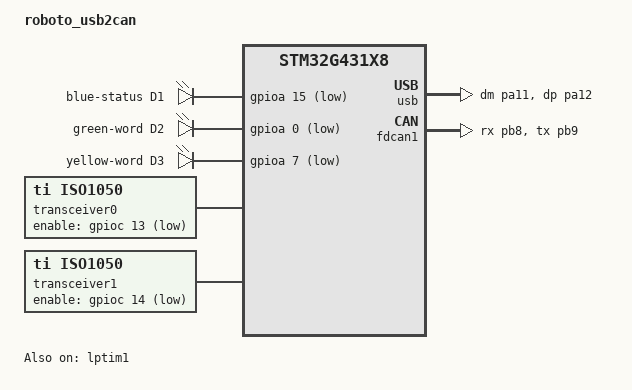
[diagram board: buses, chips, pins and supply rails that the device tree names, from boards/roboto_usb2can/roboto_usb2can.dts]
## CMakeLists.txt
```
# Copyright (c) 2025 roboparty <2321901849@qq.com>
# SPDX-License-Identifier: GPL-3.0-only

cmake_minimum_required(VERSION 3.20.0)

set(CMAKE_EXPORT_COMPILE_COMMANDS ON)
set(BOARD_ROOT ${CMAKE_CURRENT_LIST_DIR})
set(NO_BUILD_TYPE_WARNING TRUE)

find_package(Zephyr REQUIRED HINTS $ENV{ZEPHYR_BASE})
project(roboto_usb2can)

# Version definition
set(APP_VERSION_MAJOR 3)
set(APP_VERSION_MINOR 0)
set(APP_VERSION_PATCH 0)

# Get build date
string(TIMESTAMP BUILD_DATE "%Y%m%d" UTC)

configure_file(src/version.h.in ${CMAKE_CURRENT_BINARY_DIR}/src/version.h)
target_include_directories(app PRIVATE ${CMAKE_CURRENT_BINARY_DIR}/src)

target_sources(app PRIVATE src/main.c src/led.c)

# Print version info for reference
message(STATUS "Building roboto_usb2can v${APP_VERSION_MAJOR}.${APP_VERSION_MINOR}.${APP_VERSION_PATCH} (${BUILD_DATE})")

# Define version as compile definitions
target_compile_definitions(app PRIVATE
  APP_VERSION_MAJOR=${APP_VERSION_MAJOR}
  APP_VERSION_MINOR=${APP_VERSION_MINOR}
  APP_VERSION_PATCH=${APP_VERSION_PATCH}
  BUILD_DATE=\"${BUILD_DATE}\"
)

# Create versioned release files when building in Release mode
if(CMAKE_BUILD_TYPE STREQUAL "Release" OR NOT CMAKE_BUILD_TYPE)
  set(VERSION_NAME "roboto_usb2can_v${APP_VERSION_MAJOR}.${APP_VERSION_MINOR}.${APP_VERSION_PATCH}_${BUILD_DATE}")

  add_custom_target(release_files
    COMMAND ${CMAKE_COMMAND} -E copy_if_different
    ${CMAKE_CURRENT_BINARY_DIR}/zephyr/zephyr.bin
    ${CMAKE_CURRENT_BINARY_DIR}/zephyr/${VERSION_NAME}.bin
    COMMENT "Creating release binary: ${VERSION_NAME}.bin"
    VERBATIM
  )

  message(STATUS "Release mode: Will create versioned binary ${VERSION_NAME}.bin")
  message(STATUS "Run 'cmake --build . --target release_files' after build to generate release binary")
endif()
```

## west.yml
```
manifest:
  version: 0.13

  projects:
    - name: zephyr
      remote: zephyrproject
      revision: main
      import: true

    - name: cannectivity
      remote: cannectivity
      revision: main
      path: custom/cannectivity

  remotes:
    - name: zephyrproject
      url-base: https://github.com/zephyrproject-rtos

    - name: cannectivity
      url-base: https://github.com/CANnectivity

  self:
    path: samples/roboto_usb2can
```

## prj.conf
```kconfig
# Copyright (c) 2025 roboparty <2321901849@qq.com>
# SPDX-License-Identifier: GPL-3.0-only

# CAN Configuration
CONFIG_CAN=y
CONFIG_STATS=y
CONFIG_CAN_STATS=y
CONFIG_CAN_FD_MODE=y
CONFIG_CAN_LOG_LEVEL_DBG=n
CONFIG_DEPRECATION_TEST=y

# UDC Buffer
CONFIG_UDC_BUF_COUNT=48
CONFIG_UDC_BUF_POOL_SIZE=4096
CONFIG_HEAP_MEM_POOL_SIZE=2048
CONFIG_MAIN_STACK_SIZE=2048
CONFIG_SYSTEM_WORKQUEUE_STACK_SIZE=2048
CONFIG_ISR_STACK_SIZE=1536

# GS-USB Support - Legacy Driver
# CONFIG_USB_DEVICE_STACK=y
# CONFIG_USB_DEVICE_PRODUCT="roboto_usb2can"
# CONFIG_USB_DEVICE_MANUFACTURER="wentywenty"
# CONFIG_USB_DEVICE_VID=0x1D50
# CONFIG_USB_DEVICE_PID=0x606F
# CONFIG_USB_DEVICE_BOS=y
# CONFIG_USB_DEVICE_GS_USB=y
# CONFIG_USB_DEVICE_GS_USB_MAX_CHANNELS=2
# CONFIG_USB_DEVICE_GS_USB_LOG_LEVEL_DBG=y
# CONFIG_USB_DEVICE_GS_USB_IDENTIFICATION=y
# CONFIG_USB_DEVICE_GS_USB_TIMESTAMP=y
# CONFIG_USB_DEVICE_GS_USB_TERMINATION=n

# USB Configuration - New Stack
CONFIG_USB_DEVICE_STACK_NEXT=y
CONFIG_USB_DEVICE_INITIALIZE_AT_BOOT=n
# GS-USB Support - New Driver
CONFIG_USBD_GS_USB=y
CONFIG_USBD_GS_USB_MAX_CHANNELS=1
CONFIG_USBD_GS_USB_LOG_LEVEL_DBG=n
CONFIG_USBD_GS_USB_IDENTIFICATION=n
CONFIG_USBD_GS_USB_TIMESTAMP=n
CONFIG_USBD_GS_USB_TERMINATION=n
CONFIG_USBD_GS_USB_COMPATIBILITY_MODE=y
# Thread Priority Optimization
CONFIG_USBD_GS_USB_POOL_SIZE=64
CONFIG_USBD_GS_USB_RX_THREAD_PRIO=-1
CONFIG_USBD_GS_USB_TX_THREAD_PRIO=-1
CONFIG_USBD_GS_USB_RX_THREAD_STACK_SIZE=2048
CONFIG_USBD_GS_USB_TX_THREAD_STACK_SIZE=2048

# Logging
CONFIG_SERIAL=n
CONFIG_CONSOLE=n
CONFIG_LOG=n
CONFIG_USBD_LOG_LEVEL_WRN=n
CONFIG_USBD_GS_USB_LOG_LEVEL_INF=n
CONFIG_USBD_GS_USB_LOG_LEVEL_DBG=n
CONFIG_CAN_LOG_LEVEL_WRN=n
# CONFIG_USB_DRIVER_LOG_LEVEL_OFF=y
# CONFIG_LOG_MODE_DEFERRED=y
# CONFIG_LOG_DEFAULT_LEVEL=3
# CONFIG_LOG_BUFFER_SIZE=8192
# CONFIG_USE_SEGGER_RTT=n
# CONFIG_RTT_CONSOLE=n
# CONFIG_LOG_BACKEND_RTT=n
# CONFIG_LOG_BACKEND_UART=y
# CONFIG_UART_CONSOLE=y

# Disable Unnecessary Features
CONFIG_ASSERT=n
CONFIG_THREAD_NAME=n
CONFIG_THREAD_MONITOR=n
CONFIG_INIT_STACKS=n
CONFIG_DEBUG=n
CONFIG_SIZE_OPTIMIZATIONS=y
# CONFIG_THREAD_STACK_INFO=n
```

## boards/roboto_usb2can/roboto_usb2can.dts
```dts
/dts-v1/;
/*
 * Copyright (c) 2025 roboparty <2321901849@qq.com>
 *
 *  SPDX-License-Identifier: GPL-3.0-only
 */

#include <st/g4/stm32g431X8.dtsi>
#include <st/g4/stm32g431c(6-8-b)tx-pinctrl.dtsi>

/ {
    model = "roboto_usb2can";
    compatible = "candlelightfd";

    chosen {
        zephyr,sram = &sram0;
        zephyr,flash = &flash0;
        zephyr,canbus = &fdcan1;
    };

	aliases {
		led0 = &blue_led;
		led1 = &green_led;
		led2 = &yellow_led;
	};

	leds: leds {
		compatible = "gpio-leds";

		blue_led: led_1 {
			gpios = <&gpioa 15 GPIO_ACTIVE_LOW>;
			label = "blue-status D1";
		};

		green_led: led_2 {
			gpios = <&gpioa 0 GPIO_ACTIVE_LOW>;
			label = "green-word D2";
		};

		yellow_led: led_3 {
			gpios = <&gpioa 7 GPIO_ACTIVE_LOW>;
			label = "yellow-word D3";
		};
	};

    transceiver0: can-phy0 {
        compatible = "ti,iso1050", "can-transceiver-gpio";
        enable-gpios = <&gpioc 13 GPIO_ACTIVE_LOW>;
        max-bitrate = <5000000>;
        #phy-cells = <0>;
    };

    transceiver1: can-phy1 {
        compatible = "ti,iso1050", "can-transceiver-gpio";
        enable-gpios = <&gpioc 14 GPIO_ACTIVE_LOW>;
        max-bitrate = <5000000>;
        #phy-cells = <0>;
    };

    cannectivity: cannectivity {
        compatible = "cannectivity";
		timestamp-counter = <&counters2>;

        channel0 {
            compatible = "cannectivity-channel";
            can-controller = <&fdcan1>;
			state-led = <&blue_led>;
			activity-leds = <&green_led>;
        };
    };

    gs_usb0: gs_usb0 {
		compatible = "gs_usb";
		label = "gs_usb";
	};
};

&clk_hsi {
    status = "okay";
};

&clk_hsi48 {
    status = "okay";
};

/* Adjust the pll for a SYSTEM Clock of 160 MHz  */
&pll {
	div-m = <4>;
	mul-n = <80>;
	div-p = <2>;
	div-q = <4>;
	div-r = <2>;
	clocks = <&clk_hsi>;
	status = "okay";
};

&rcc {
	clocks = <&pll>;
	clock-frequency = <DT_FREQ_M(160)>;
	ahb-prescaler = <1>;
	apb1-prescaler = <1>;
	apb2-prescaler = <1>;
};

zephyr_udc0: &usb {
	pinctrl-0 = <&usb_dm_pa11 &usb_dp_pa12>;
	pinctrl-names = "default";
	clocks = <&rcc STM32_CLOCK(APB1, 23)>,
		 <&rcc STM32_SRC_HSI48 CLK48_SEL(0)>;
	status = "okay";
};

&fdcan1 {
	pinctrl-0 = <&fdcan1_rx_pb8 &fdcan1_tx_pb9>;
	pinctrl-names = "default";
	clocks = <&rcc STM32_CLOCK(APB1, 25)>,
		 <&rcc STM32_SRC_PLL_Q FDCAN_SEL(1)>;
	status = "okay";
};

/* 1MHz Timestamp Counter (64MHz / 64 = 1MHz) */
stm32_lp_tick_source: &lptim1 {
	clocks = <&rcc STM32_CLOCK(APB1, 31)>,
		 <&rcc STM32_SRC_LSI LPTIM1_SEL(3)>;
	status = "okay";
};

&timers2 {
	st,prescaler = <159>;
	counters2: counter {
		status = "okay";
	};
};
```

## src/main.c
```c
/*
 * Copyright (c) 2025 roboparty <2321901849@qq.com>
 * SPDX-License-Identifier: GPL-3.0-only
 */

#include "roboto_usb2can.h"

LOG_MODULE_REGISTER(main, LOG_LEVEL_INF);

#ifdef CONFIG_USB_DEVICE_STACK_NEXT
/* New USB stack: Define USB device context */
USBD_DEVICE_DEFINE(usbd, DEVICE_DT_GET(DT_NODELABEL(zephyr_udc0)), 0x1D50, 0x606F);

USBD_DESC_LANG_DEFINE(lang);
USBD_DESC_MANUFACTURER_DEFINE(mfr, "wentywenty");
USBD_DESC_PRODUCT_DEFINE(product, "roboto_usb2can");
USBD_DESC_SERIAL_NUMBER_DEFINE(sn);
USBD_DESC_CONFIG_DEFINE(fs_config_desc, "Full-Speed Configuration");
USBD_CONFIGURATION_DEFINE(fs_config, 0, 250, &fs_config_desc);
#endif
/**
 * @brief Microsoft OS 2.0 descriptor vendor request handler
 *
 * Handles Windows-specific vendor requests for MSOS 2.0 descriptors,
 * enabling automatic WinUSB driver binding without manual driver installation.
 *
 * @param ctx USB device context
 * @param setup USB setup packet containing the request
 * @param buf Network buffer for response data
 * @return 0 on success, -ENOTSUP for unsupported requests
 */
static int msos_vendor_handler(const struct usbd_context *const ctx,
			       const struct usb_setup_packet *const setup,
			       struct net_buf *const buf)
{
	if (setup->bRequest == 0x01 && setup->wIndex == MS_OS_20_DESCRIPTOR_INDEX) {
		size_t len = sizeof(msos2_desc);
		net_buf_add_mem(buf, &msos2_desc, MIN(net_buf_tailroom(buf), len));
		LOG_INF("Windows requested MSOS2 descriptor");
		return 0;
	}
	return -ENOTSUP;
}

/* Register BOS Descriptors */
USBD_DESC_BOS_DEFINE(bos_lpm, sizeof(bos_cap_lpm), &bos_cap_lpm);
USBD_DESC_BOS_VREQ_DEFINE(bos_msosv2, sizeof(bos_cap_msosv2), &bos_cap_msosv2, 0x01,
			  msos_vendor_handler, NULL);

/**
 * @brief CAN state change callback - Error monitoring and protection
 *
 * This callback monitors CAN bus state changes and implements error protection
 * mechanisms including error frame flood detection and automatic bus-off recovery.
 *
 * @param dev Pointer to the CAN device
 * @param state Current CAN bus state
 * @param err_cnt CAN error counters (TX/RX)
 * @param user_data User data pointer (channel index)
 */
static void can_state_change_callback(const struct device *dev, enum can_state state,
				      struct can_bus_err_cnt err_cnt, void *user_data)
{
	int ch = 0; /* Currently only supports single channel, multi-channel needs matching via
		       user_data or dev */
	struct can_error_monitor *mon = &err_monitors[ch];
	int64_t now = k_uptime_get();

	/* Reset statistics window */
	if ((now - mon->window_start_ms) > CAN_ERR_WINDOW_MS) {
		mon->err_frame_count = 0;
		mon->window_start_ms = now;
		mon->throttled = false;
	}

	/* Error frame count */
	if (state != CAN_STATE_ERROR_ACTIVE) {
		mon->err_frame_count++;
	}

	/* Error frame flood detection */
	if (mon->err_frame_count > CAN_ERR_FRAME_THRESHOLD) {
		if (!mon->throttled) {
			LOG_ERR("CH%d: Error frame flood detected (%u/s), throttling", ch,
				mon->err_frame_count);
			mon->throttled = true;
			/* USB error and CAN error */
			status_led_usb_set(LED_USB_ERROR);
			status_led_can_set(CAN_LED_ERROR);
		}
		/* Actively enter Bus-Off to protect bus */
		if (!mon->forced_busoff) {
			LOG_ERR("CH%d: Forcing Bus-Off to prevent bus freeze", ch);
			can_stop(dev);
			mon->forced_busoff = true;
			return;
		}
	}

	/* Handle different error states */
	switch (state) {
	case CAN_STATE_ERROR_ACTIVE:
		LOG_DBG("CH%d: CAN ERROR_ACTIVE (TEC=%u, REC=%u)", ch, err_cnt.tx_err_cnt,
			err_cnt.rx_err_cnt);
		mon->err_passive_count = 0; /* Reset count after recovery */
		mon->forced_busoff = false;
		/* CAN back to normal */
		status_led_can_set(CAN_LED_ACTIVE);
		break;

	case CAN_STATE_ERROR_WARNING:
		LOG_WRN("CH%d: CAN ERROR_WARNING (TEC=%u, REC=%u)", ch, err_cnt.tx_err_cnt,
			err_cnt.rx_err_cnt);
		/* CAN warning state */
		status_led_can_set(CAN_LED_WARNING);
		break;

	case CAN_STATE_ERROR_PASSIVE:
		mon->err_passive_count++;
		LOG_WRN("CH%d: CAN ERROR_PASSIVE #%u (TEC=%u, REC=%u)", ch, mon->err_passive_count,
			err_cnt.tx_err_cnt, err_cnt.rx_err_cnt);
		/* CAN error state */
		status_led_can_set(CAN_LED_ERROR);

		/* Persistent ERROR_PASSIVE -> active Bus-Off */
		if (mon->err_passive_count > CAN_ERR_PASSIVE_LIMIT) {
			LOG_ERR("CH%d: Persistent ERROR_PASSIVE (%u times), forcing Bus-Off", ch,
				mon->err_passive_count);
			can_stop(dev);
			mon->forced_busoff = true;
			/* USB error and CAN off */
			status_led_usb_set(LED_USB_ERROR);
			status_led_can_set(CAN_LED_OFF);
		}
		break;

	case CAN_STATE_BUS_OFF:
		LOG_ERR("CH%d: CAN BUS_OFF (TEC=%u, REC=%u)", ch, err_cnt.tx_err_cnt,
			err_cnt.rx_err_cnt);
		mon->forced_busoff = true;
		/* USB error and CAN off */
		status_led_usb_set(LED_USB_ERROR);
		status_led_can_set(CAN_LED_OFF);
		break;

	case CAN_STATE_STOPPED:
		LOG_INF("CH%d: CAN STOPPED", ch);
		/* CAN stopped */
		status_led_can_set(CAN_LED_OFF);
		break;
	}
}

/**
 * @brief Main application entry point
 *
 * Initializes the roboto_usb2can adapter including:
 * - Status LED system
 * - CAN error monitoring
 * - GS-USB protocol stack
 * - USB device configuration (WinUSB support)
 *
 * @return 0 on success, negative error code on failure
 */
int main(void)
{
	const struct device *gs_usb = DEVICE_DT_GET(DT_NODELABEL(gs_usb0));
	const struct device *channels[] = {DEVICE_DT_GET(DT_NODELABEL(fdcan1))};
	struct gs_usb_ops ops = {
		.event = status_led_event,
	};
	int err;

	/* Initialize status LED */
	err = status_led_init();
	if (err) {
		LOG_ERR("Failed to initialize status LED (err %d)", err);
	}

	printk("*** roboto_usb2can adapter v%s ***\n", APP_VERSION_STR);

	/* Initialize CAN error monitoring */
	for (int i = 0; i < ARRAY_SIZE(can_devices); i++) {
		if (!device_is_ready(can_devices[i])) {
			LOG_ERR("CAN device %d not ready", i);
			continue;
		}

		/* Register CAN state change callback */
		can_set_state_change_callback(can_devices[i], can_state_change_callback,
					      (void *)(intptr_t)i);
		LOG_INF("CAN error monitoring enabled for channel %d", i);

		/* Initialize error monitor */
		err_monitors[i].window_start_ms = k_uptime_get();
	}

	if (!device_is_ready(gs_usb)) {
		LOG_ERR("gs_usb not ready");
		return -1;
	}

	/* Register gs_usb device and channels, and set event callback */
	err = gs_usb_register(gs_usb, channels, ARRAY_SIZE(channels), &ops, NULL);
	if (err != 0) {
		LOG_ERR("failed to register gs_usb (err %d)", err);
		return err;
	}

#ifdef CONFIG_USB_DEVICE_STACK_NEXT
	/* New USB stack initialization */
	err = usbd_add_descriptor(&usbd, &lang);
	if (err != 0) {
		LOG_ERR("failed to add language descriptor (err %d)", err);
		return err;
	}

	err = usbd_add_descriptor(&usbd, &mfr);
	if (err != 0) {
		LOG_ERR("failed to add manufacturer descriptor (err %d)", err);
		return err;
	}

	err = usbd_add_descriptor(&usbd, &product);
	if (err != 0) {
		LOG_ERR("failed to add product descriptor (err %d)", err);
		return err;
	}

	err = usbd_add_descriptor(&usbd, &sn);
	if (err != 0) {
		LOG_ERR("failed to add serial number descriptor (err %d)", err);
		return err;
	}

	err = usbd_add_configuration(&usbd, USBD_SPEED_FS, &fs_config);
	if (err != 0) {
		LOG_ERR("failed to add full-speed configuration (err %d)", err);
		return err;
	}

	err = usbd_register_class(&usbd, "gs_usb_0", USBD_SPEED_FS, 1);
	if (err != 0) {
		LOG_ERR("failed to register gs_usb class (err %d)", err);
		return err;
	}

	err = usbd_device_set_code_triple(&usbd, USBD_SPEED_FS, 0, 0, 0);
	if (err != 0) {
		LOG_ERR("failed to set code triple (err %d)", err);
		return err;
	}

	/* Set USB version to 2.0.1 to trigger BOS descriptor read (required for WinUSB) */
	err = usbd_device_set_bcd_usb(&usbd, USBD_SPEED_FS, USB_SRN_2_0_1);
	if (err != 0) {
		LOG_ERR("failed to set FS bcdUSB (err %d)", err);
		return err;
	}

	/* Set device version */
	err = usbd_device_set_bcd_device(&usbd, APP_VERSION_BCD);
	if (err != 0) {
		LOG_ERR("failed to set bcdDevice (err %d)", err);
		return err;
	}

	err = usbd_add_descriptor(&usbd, &bos_lpm);
	if (err != 0) {
		LOG_ERR("failed to add BOS LPM descriptor (err %d)", err);
		return err;
	}

	err = usbd_add_descriptor(&usbd, &bos_msosv2);
	if (err != 0) {
		LOG_ERR("failed to add BOS MSOS2 descriptor (err %d)", err);
		return err;
	}

	err = usbd_init(&usbd);
	if (err != 0) {
		LOG_ERR("failed to initialize USB device (err %d)", err);
		return err;
	}

	err = usbd_enable(&usbd);
	if (err != 0) {
		LOG_ERR("failed to enable USB device (err %d)", err);
		return err;
	}
#else
	/* Old USB stack */
	err = usb_enable(NULL);
	if (err != 0) {
		LOG_ERR("failed to enable USB (err %d)", err);
		return err;
	}
#endif

	LOG_INF("roboto_usb2can initialized with %u channels", ARRAY_SIZE(channels));

	/* Set LED to USB ready state */
	status_led_usb_set(LED_USB_READY);
	LOG_INF("WinUSB support enabled - plug and play on Windows 8.1+");

	return 0;
}
```

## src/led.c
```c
/*
 * Copyright (c) 2025 roboparty <2321901849@qq.com>
 * SPDX-License-Identifier: GPL-3.0-only
 *
 * Status LED management for roboto_usb2can
 */

#include "roboto_usb2can.h"

LOG_MODULE_REGISTER(status_led, LOG_LEVEL_INF);

/* LED hardware definitions */
const struct gpio_dt_spec usb_led = GPIO_DT_SPEC_GET(DT_ALIAS(led0), gpios);
const struct gpio_dt_spec activity_led = GPIO_DT_SPEC_GET(DT_ALIAS(led1), gpios);
const struct gpio_dt_spec can_led = GPIO_DT_SPEC_GET(DT_ALIAS(led2), gpios);

/* LED work queues */
struct k_work_delayable usb_led_work;
struct k_work_delayable can_led_work;
struct k_work_delayable activity_work;

/* LED state variables */
enum led_status current_usb_status = LED_USB_READY;
int usb_repeat_count = 0;
bool usb_led_state = false;
enum can_led_status current_can_status = CAN_LED_OFF;
int can_repeat_count = 0;
bool can_led_state = false;

/* LED activity timer and state */
struct k_timer activity_tick_timer;
k_timepoint_t last_activity_time;
int activity_ticks = 0;
k_timepoint_t last_stopped_time;

/* USB LED blink work (Blue LED) */
static void usb_led_blink_work(struct k_work *work)
{
	const struct led_pattern *pattern = &usb_led_patterns[current_usb_status];
	uint32_t next_delay;

	/* Toggle LED state */
	usb_led_state = !usb_led_state;
	gpio_pin_set_dt(&usb_led, usb_led_state);

	/* Calculate next trigger time */
	if (usb_led_state) {
		next_delay = pattern->on_ms;
	} else {
		next_delay = pattern->off_ms;

		/* Check repeat count */
		if (pattern->repeat > 0) {
			usb_repeat_count++;
			if (usb_repeat_count >= pattern->repeat) {
				/* Completed specified count, stop */
				gpio_pin_set_dt(&usb_led, 0);
				return;
			}
		}
	}

	/* Reschedule work */
	k_work_reschedule(&usb_led_work, K_MSEC(next_delay));
}

/* CAN LED blink work (Yellow LED) */
static void can_led_blink_work(struct k_work *work)
{
	const struct led_pattern *pattern = &can_led_patterns[current_can_status];
	uint32_t next_delay;

	/* Toggle LED state */
	can_led_state = !can_led_state;
	gpio_pin_set_dt(&can_led, can_led_state);

	/* Calculate next trigger time */
	if (can_led_state) {
		next_delay = pattern->on_ms;
	} else {
		next_delay = pattern->off_ms;

		/* Check repeat count */
		if (pattern->repeat > 0) {
			can_repeat_count++;
			if (can_repeat_count >= pattern->repeat) {
				/* Completed specified count, stop */
				gpio_pin_set_dt(&can_led, 0);
				return;
			}
		}
	}

	/* Reschedule work */
	k_work_reschedule(&can_led_work, K_MSEC(next_delay));
}

/* Activity LED turn off work */
static void activity_led_off_work(struct k_work *work)
{
	gpio_pin_set_dt(&activity_led, 0);
}

/* Activity LED timer callback (triggers every 50ms) */
static void activity_tick_handler(struct k_timer *timer)
{
	ARG_UNUSED(timer);

	if (activity_ticks > 0) {
		activity_ticks--;
		if (activity_ticks == (LED_TICKS_ACTIVITY / 2)) {
			/* Turn on after middle tick */
			gpio_pin_set_dt(&activity_led, 1);
		} else if (activity_ticks == 0) {
			/* Turn off at end */
			gpio_pin_set_dt(&activity_led, 0);
		}
	}
}

/* Initialize status LED */
int status_led_init(void)
{
	int ret;

	/* Initialize USB LED (Blue) */
	if (!gpio_is_ready_dt(&usb_led)) {
		LOG_ERR("USB LED GPIO not ready");
		return -ENODEV;
	}

	ret = gpio_pin_configure_dt(&usb_led, GPIO_OUTPUT_INACTIVE);
	if (ret < 0) {
		LOG_ERR("Failed to configure USB LED: %d", ret);
		return ret;
	}

	/* Initialize Activity LED (Green) */
	if (!gpio_is_ready_dt(&activity_led)) {
		LOG_WRN("Activity LED GPIO not ready");
	} else {
		ret = gpio_pin_configure_dt(&activity_led, GPIO_OUTPUT_INACTIVE);
		if (ret < 0) {
			LOG_WRN("Failed to configure activity LED: %d", ret);
		} else {
			k_work_init_delayable(&activity_work, activity_led_off_work);
			LOG_INF("Activity LED initialized");
		}
	}

	/* Initialize CAN LED (Yellow) */
	if (!gpio_is_ready_dt(&can_led)) {
		LOG_WRN("CAN LED GPIO not ready");
	} else {
		ret = gpio_pin_configure_dt(&can_led, GPIO_OUTPUT_INACTIVE);
		if (ret < 0) {
			LOG_WRN("Failed to configure CAN LED: %d", ret);
		} else {
			k_work_init_delayable(&can_led_work, can_led_blink_work);
			LOG_INF("CAN LED initialized");
		}
	}

	/* Initialize work queues */
	k_work_init_delayable(&usb_led_work, usb_led_blink_work);

	/* Initialize activity LED timer */
	k_timer_init(&activity_tick_timer, activity_tick_handler, NULL);
	k_timer_start(&activity_tick_timer, K_MSEC(LED_TICK_MS), K_MSEC(LED_TICK_MS));
	last_activity_time = sys_timepoint_calc(K_NO_WAIT);
	last_stopped_time = sys_timepoint_calc(K_NO_WAIT); /* Initialize STOPPED filter */

	/* Start with USB ready state */
	status_led_usb_set(LED_USB_READY);
	status_led_can_set(CAN_LED_OFF);

	LOG_INF("Status LEDs initialized");
	return 0;
}

/* Set USB LED status (Blue LED) */
void status_led_usb_set(enum led_status status)
{
	if (status >= ARRAY_SIZE(usb_led_patterns)) {
		LOG_ERR("Invalid USB LED status: %d", status);
		return;
	}

	/* Cancel current blink */
	k_work_cancel_delayable(&usb_led_work);

	current_usb_status = status;
	usb_repeat_count = 0;
	usb_led_state = false;

	/* Start new blink pattern */
	const struct led_pattern *pattern = &usb_led_patterns[status];
	gpio_pin_set_dt(&usb_led, 1);
	k_work_reschedule(&usb_led_work, K_MSEC(pattern->on_ms));

	LOG_DBG("USB LED status changed to %d", status);
}

/* Set CAN LED status (Yellow LED) */
void status_led_can_set(enum can_led_status status)
{
	if (status >= ARRAY_SIZE(can_led_patterns)) {
		LOG_ERR("Invalid CAN LED status: %d", status);
		return;
	}

	/* Cancel current blink */
	k_work_cancel_delayable(&can_led_work);

	current_can_status = status;
	can_repeat_count = 0;
	can_led_state = false;

	/* Start new blink pattern */
	const struct led_pattern *pattern = &can_led_patterns[status];
	gpio_pin_set_dt(&can_led, 1);
	k_work_reschedule(&can_led_work, K_MSEC(pattern->on_ms));

	LOG_DBG("CAN LED status changed to %d", status);
}

/* CAN activity indication (independently controls green LED, does not affect blue LED) */
void status_led_can_activity(void)
{
	if (!gpio_is_ready_dt(&activity_led)) {
		return;
	}

	/* Use timer counter method */
	activity_ticks = LED_TICKS_ACTIVITY;
}

/* gs_usb event callback function */
int status_led_event(const struct device *dev, uint16_t ch, enum gs_usb_event event,
		     void *user_data)
{
	ARG_UNUSED(dev);
	ARG_UNUSED(ch);
	ARG_UNUSED(user_data);

	switch (event) {
	case GS_USB_EVENT_CHANNEL_ACTIVITY_RX:
		__fallthrough;
	case GS_USB_EVENT_CHANNEL_ACTIVITY_TX:
		/* Low-pass filter: prevent LED from blinking too fast */
		if (!sys_timepoint_expired(last_activity_time)) {
			return 0; /* Ignore frequent events */
		}
		last_activity_time = sys_timepoint_calc(K_MSEC(LED_TICK_MS * LED_TICKS_ACTIVITY));
		status_led_can_activity();
		break;

	case GS_USB_EVENT_CHANNEL_STARTED:
		LOG_DBG("Channel %u started", ch);
		last_stopped_time = sys_timepoint_calc(K_NO_WAIT); /* Reset STOPPED filter */
		/* USB is ready, CAN channel started */
		status_led_usb_set(LED_USB_READY);
		status_led_can_set(CAN_LED_ACTIVE);
		break;

	case GS_USB_EVENT_CHANNEL_STOPPED:
		/* Filter spurious STOP events from Linux 5/6.1 */
		if (!sys_timepoint_expired(last_stopped_time)) {
			LOG_WRN("Channel %u: Ignoring spurious STOPPED event (possible Linux "
				"kernel bug)",
				ch);
			return 0; /* Ignore spurious events */
		}
		last_stopped_time = sys_timepoint_calc(K_MSEC(MIN_STOP_INTERVAL_MS));
		LOG_DBG("Channel %u stopped", ch);
		/* CAN stopped, USB still ready */
		status_led_usb_set(LED_USB_READY);
		status_led_can_set(CAN_LED_OFF);
		break;

	default:
		/* Ignore other events */
		break;
	}

	return 0;
}
```

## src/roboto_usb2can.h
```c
/*
 * Copyright (c) 2025 roboparty <2321901849@qq.com>
 * SPDX-License-Identifier: GPL-3.0-only
 */

#ifndef ROBOTO_USB2CAN_H_
#define ROBOTO_USB2CAN_H_

#include <zephyr/device.h>
#include <zephyr/devicetree.h>
#include <zephyr/drivers/can.h>
#include <zephyr/drivers/gpio.h>
#include <zephyr/kernel.h>
#include <cannectivity/usb/class/gs_usb.h>
#include <zephyr/logging/log.h>
#include "version.h"

#ifdef CONFIG_USB_DEVICE_STACK_NEXT
#include <zephyr/usb/usbd.h>
#include <zephyr/usb/msos_desc.h>
#include <zephyr/sys/byteorder.h>
#else
#include <zephyr/usb/usb_device.h>
#endif

/* MSOS 2.0 Descriptors for WinUSB Support */
#define COMPATIBLE_ID_WINUSB 'W', 'I', 'N', 'U', 'S', 'B', 0x00, 0x00
/* gs_usb DeviceInterfaceGUID (candleLight compatible) */
#define GS_USB_DEVICE_INTERFACE_GUID                                                               \
	'{', 0x00, 'c', 0x00, '6', 0x00, 'e', 0x00, '5', 0x00, '1', 0x00, '5', 0x00, 'a', 0x00,    \
		'2', 0x00, '-', 0x00, '8', 0x00, 'd', 0x00, 'c', 0x00, '6', 0x00, '-', 0x00, '4',  \
		0x00, 'f', 0x00, 'c', 0x00, '4', 0x00, '-', 0x00, 'a', 0x00, '0', 0x00, '3', 0x00, \
		'c', 0x00, '-', 0x00, '9', 0x00, '3', 0x00, '2', 0x00, '5', 0x00, '5', 0x00, '5',  \
		0x00, 'd', 0x00, '6', 0x00, '8', 0x00, 'e', 0x00, '6', 0x00, '}', 0x00, 0x00, 0x00

/* MSOS 2.0 Descriptor Structure */
struct msos2_descriptor {
	struct msosv2_descriptor_set_header header;
	struct msosv2_compatible_id compatible_id;
	struct msosv2_guids_property guids_property;
} __packed;

static const struct msos2_descriptor msos2_desc = {
	.header =
		{
			.wLength = sizeof(struct msosv2_descriptor_set_header),
			.wDescriptorType = MS_OS_20_SET_HEADER_DESCRIPTOR,
			.dwWindowsVersion = 0x06030000, /* Windows 8.1+ */
			.wTotalLength = sizeof(struct msos2_descriptor),
		},
	.compatible_id =
		{
			.wLength = sizeof(struct msosv2_compatible_id),
			.wDescriptorType = MS_OS_20_FEATURE_COMPATIBLE_ID,
			.CompatibleID = {COMPATIBLE_ID_WINUSB},
		},
	.guids_property =
		{
			.wLength = sizeof(struct msosv2_guids_property),
			.wDescriptorType = MS_OS_20_FEATURE_REG_PROPERTY,
			.wPropertyDataType = MS_OS_20_PROPERTY_DATA_REG_MULTI_SZ,
			.wPropertyNameLength = 42,
			.PropertyName = {DEVICE_INTERFACE_GUIDS_PROPERTY_NAME},
			.wPropertyDataLength = 80,
			.bPropertyData = {GS_USB_DEVICE_INTERFACE_GUID},
		},
};

/* BOS Descriptor: USB 2.0 Extension */
static const struct usb_bos_capability_lpm bos_cap_lpm = {
	.bLength = sizeof(struct usb_bos_capability_lpm),
	.bDescriptorType = USB_DESC_DEVICE_CAPABILITY,
	.bDevCapabilityType = USB_BOS_CAPABILITY_EXTENSION,
	.bmAttributes = 0UL,
};

/* BOS Descriptor: Microsoft OS 2.0 Platform */
struct usb_bos_msosv2 {
	struct usb_bos_platform_descriptor platform;
	struct usb_bos_capability_msos cap;
} __packed;

static const struct usb_bos_msosv2 bos_cap_msosv2 = {
	.platform =
		{
			.bLength = sizeof(struct usb_bos_msosv2),
			.bDescriptorType = USB_DESC_DEVICE_CAPABILITY,
			.bDevCapabilityType = USB_BOS_CAPABILITY_PLATFORM,
			.bReserved = 0,
			.PlatformCapabilityUUID =
				{
					/* MS OS 2.0 Platform Capability ID */
					0xDF,
					0x60,
					0xDD,
					0xD8,
					0x89,
					0x45,
					0xC7,
					0x4C,
					0x9C,
					0xD2,
					0x65,
					0x9D,
					0x9E,
					0x64,
					0x8A,
					0x9F,
				},
		},
	.cap =
		{
			.dwWindowsVersion = sys_cpu_to_le32(0x06030000),
			.wMSOSDescriptorSetTotalLength = sys_cpu_to_le16(sizeof(msos2_desc)),
			.bMS_VendorCode = 0x01, /* Vendor Request Code */
			.bAltEnumCode = 0x00,
		},
};

/* CAN error frame monitoring configuration */
#define CAN_ERR_FRAME_THRESHOLD 50   /* Max 50 error frames allowed per second */
#define CAN_ERR_WINDOW_MS       1000 /* Statistics window 1 second */
#define CAN_ERR_PASSIVE_LIMIT   10   /* Force Bus-Off after 10 accumulated ERROR_PASSIVE */

/* CAN error monitor (per channel) */
struct can_error_monitor {
	uint32_t err_frame_count;   /* Error frame count in current window */
	uint32_t err_passive_count; /* Accumulated ERROR_PASSIVE count */
	int64_t window_start_ms;    /* Statistics window start time */
	bool throttled;             /* Whether throttling triggered */
	bool forced_busoff;         /* Whether Bus-Off forced */
};

static struct can_error_monitor err_monitors[1]
	__attribute__((unused)) = {0}; /* Single channel, extensible */
static const struct device *can_devices[]
	__attribute__((unused)) = {DEVICE_DT_GET(DT_NODELABEL(fdcan1))};

/* LED Status Enumeration */
enum led_status {
	/* USB Status (Blue LED) */
	LED_USB_READY, // USB ready for communication - medium blink
	LED_USB_ERROR, // USB error - fast blink
};

/* CAN Status (Yellow LED) */
enum can_led_status {
	CAN_LED_OFF,     // CAN off state (not started or bus off) - very slow blink
	CAN_LED_ACTIVE,  // CAN normal operation - medium blink
	CAN_LED_WARNING, // CAN warning - slow blink
	CAN_LED_ERROR,   // CAN error state (error passive or flood) - fast blink
};

/* LED status configuration */
#define MIN_STOP_INTERVAL_MS 1000 /* STOP events within 1 second are considered abnormal */
#define LED_TICK_MS          50   /* Timer triggers every 50ms */
#define LED_TICKS_ACTIVITY   2    /* Activity LED on for 2 ticks (100ms) */

/* LED blink patterns */
struct led_pattern {
	uint16_t on_ms;  // Duration on
	uint16_t off_ms; // Duration off
	int8_t repeat;   // Repeat count (-1=infinite loop)
};

/* LED blink patterns for USB status (Blue LED) */
static const struct led_pattern usb_led_patterns[] = {
	[LED_USB_READY] = {500, 500, -1}, // Medium blink (1Hz, ready state)
	[LED_USB_ERROR] = {100, 100, -1}, // Fast blink (error state)
};

/* LED blink patterns for CAN status (Yellow LED) */
static const struct led_pattern can_led_patterns[] = {
	[CAN_LED_OFF] = {50, 3950, -1},      // Very slow blink (every 4s, off state)
	[CAN_LED_ACTIVE] = {500, 500, -1},   // Medium blink (1Hz, normal operation)
	[CAN_LED_WARNING] = {200, 1800, -1}, // Slow blink (every 2s, warning state)
	[CAN_LED_ERROR] = {100, 100, -1},    // Fast blink (error state, same as USB error)
};

/**
 * @brief Initialize the status LED system
 *
 * Sets up GPIO pins and work queues for the three-LED status indication system.
 * Must be called before using any other LED functions.
 *
 * @return 0 on success, negative error code on failure
 */
int status_led_init(void);

/**
 * @brief Set USB LED status (Blue LED)
 *
 * Controls the blue LED to indicate USB system status with different blink patterns.
 *
 * @param status USB status to display (LED_USB_READY or LED_USB_ERROR)
 */
void status_led_usb_set(enum led_status status);

/**
 * @brief Set CAN LED status (Yellow LED)
 *
 * Controls the yellow LED to indicate CAN system status with different blink patterns.
 *
 * @param status CAN status to display (CAN_LED_OFF, CAN_LED_ACTIVE, etc.)
 */
void status_led_can_set(enum can_led_status status);

/**
 * @brief Indicate CAN bus activity (Green LED)
 *
 * Briefly flashes the green LED to show CAN data transmission or reception activity.
 * This function is typically called from interrupt context.
 */
void status_led_can_activity(void);

/**
 * @brief GS-USB event callback for LED status updates
 *
 * Callback function registered with the GS-USB stack to receive bus events
 * and update LED status accordingly.
 *
 * @param dev Pointer to the device
 * @param ch Channel number
 * @param event GS-USB event type
 * @param user_data User data pointer
 * @return 0 on success, negative error code on failure
 */
int status_led_event(const struct device *dev, uint16_t ch, enum gs_usb_event event,
		     void *user_data);

#endif /* ROBOTO_USB2CAN_H_ */
```
